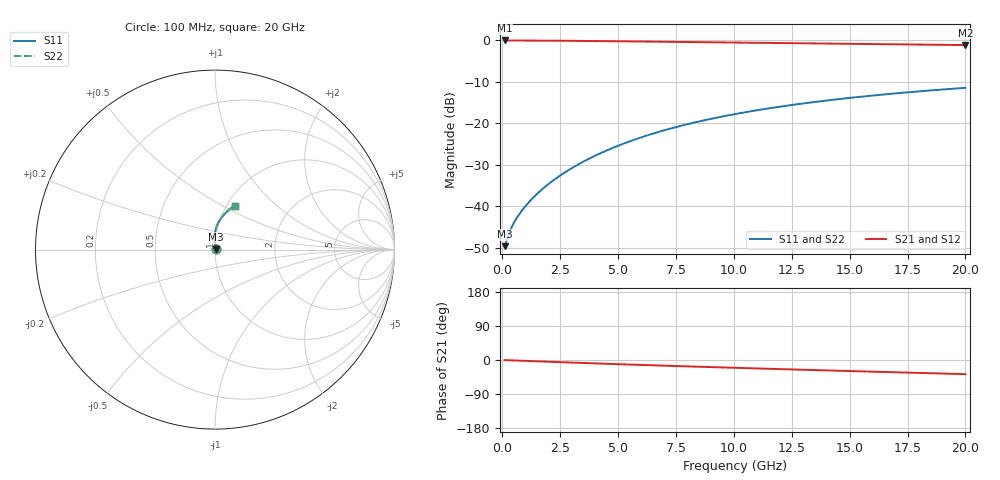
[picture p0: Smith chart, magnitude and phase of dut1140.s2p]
! Touchstone file exported from HFSS 2024.1.0
!  File:  C:/UserFiles/LocalFiles/RDL_TSV_Batchsim/temp_RDL_top_1140_1780047766.aedt
!  Generated:  05:44:45 PM May 29, 2026
!  Design:  RDL_top
!  Project:  temp_RDL_top_1140_1780047766
!  Setup:  Setup1
!  Solution:  Sweep
! Variables:
!  dtsv = 10.80580581um
!  hbump = 3um
!  htsv = 60.15um
!  ldown = 100um
!  lrdl = 575.63um
!  p = 40
!  p1 = 46.81um
!  rhole = 1um
!  t = 450um
!  tdown = 3.915915916um
!  trdl = 2.54um
!  wdown = 15.38538539um
!  wrdl = 29.34um
# GHz S MA R 50.000000
! Terminal data exported
! Port[1] = Box2_T1
! Port[2] = Box2_T2
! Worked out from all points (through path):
!   200 points, 100 MHz to 20 GHz, reference 50 ohm
!   highest |S21| = -0.03 dB at 100 MHz (marker M1); lowest = -1.1 dB at 20 GHz (marker M2)
!   group delay of S21, straight-line fit = 5.1 ps
!   lowest |S11| = -49.6 dB at 100 MHz (marker M3), VSWR 1.01, Z = 50.3 + j0.119 ohm
!   |S11| at or under -10 dB: start of sweep to end of sweep
!   |S22| runs from -49.6 to -11.5 dB; largest |S21 - S12| = 3.9e-15
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0.1  0.003303 21.0  0.9969 -0.3  0.9969 -0.3  0.003303 21.0
! Gamma 0 0 0 0
! Port Impedance 50 0 50 0
0.3  0.004761 43.8  0.9964 -0.7  0.9964 -0.7  0.004761 43.8
0.4  0.005547 49.5  0.9961 -1.0  0.9961 -1.0  0.005547 49.5
0.5  0.006306 53.8  0.9959 -1.2  0.9959 -1.2  0.006305 53.8
0.6  0.007046 57.4  0.9956 -1.4  0.9956 -1.4  0.007046 57.4
0.8  0.008519 63.3  0.9951 -1.9  0.9951 -1.9  0.008519 63.3
1.2  0.0116 72.0  0.9941 -2.8  0.9941 -2.8  0.0116 72.0
1.7  0.01583 79.3  0.9926 -3.9  0.9926 -3.9  0.01583 79.3
2.2  0.02049 84.2  0.9907 -5.1  0.9907 -5.1  0.02049 84.2
2.8  0.02662 88.1  0.9879 -6.4  0.9879 -6.4  0.02661 88.1
3.5  0.03449 90.9  0.9841 -7.9  0.9841 -7.9  0.03448 90.8
4.2  0.04307 92.4  0.9799 -9.4  0.9799 -9.4  0.04305 92.3
5  0.05362 93.0  0.9746 -11.1  0.9746 -11.1  0.0536 93.0
5.9  0.06625 92.8  0.9683 -12.9  0.9683 -12.9  0.06622 92.7
6.8  0.07947 91.9  0.9619 -14.6  0.9619 -14.6  0.07942 91.8
8.4  0.1038 89.3  0.9506 -17.6  0.9506 -17.6  0.1037 89.3
10.1  0.1299 85.9  0.9388 -20.7  0.9388 -20.7  0.1298 85.9
11.7  0.1543 82.5  0.9281 -23.5  0.9281 -23.5  0.1542 82.5
13.4  0.1795 78.9  0.9171 -26.5  0.9171 -26.5  0.1793 78.9
15  0.2023 75.5  0.907 -29.2  0.907 -29.2  0.2022 75.5
16.7  0.2256 72.0  0.8965 -32.0  0.8965 -32.0  0.2255 72.0
20  0.2676 65.6  0.8768 -37.3  0.8768 -37.3  0.2674 65.6
